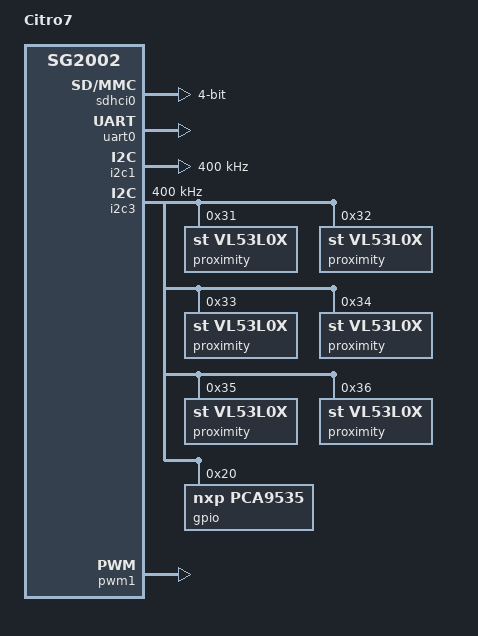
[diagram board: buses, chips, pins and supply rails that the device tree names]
// SPDX-License-Identifier: (GPL-2.0 OR MIT)
/*
 * Copyright (C) 2024 Thomas Bonnefille <thomas.bonnefille@bootlin.com>
 */

/dts-v1/;

#include "sg2002.dtsi"

/ {
	model = "Citro7";
	compatible = "sipeed,licheerv-nano-b", "sipeed,licheerv-nano", "sophgo,sg2002";

	aliases {
		gpio0 = &gpio0;
		gpio1 = &gpio1;
		gpio2 = &gpio2;
		gpio3 = &gpio3;
		serial0 = &uart0;
		serial1 = &uart1;
		serial2 = &uart2;
		serial3 = &uart3;
		serial4 = &uart4;
	};

	chosen {
		stdout-path = "serial0:115200n8";
	};
};

&osc {
	clock-frequency = <25000000>;
};

&pinctrl {
	uart0_cfg: uart0-cfg {
		uart0-pins {
			pinmux = <PINMUX(PIN_UART0_TX, 0)>,
				 <PINMUX(PIN_UART0_RX, 0)>;
			bias-pull-up;
			drive-strength-microamp = <10800>;
			power-source = <3300>;
		};
	};

	i2c1_cfg: i2c1-cfg {
		i2c1-pins {
			pinmux = <PINMUX(PIN_SD1_D3, 2)>,
				 <PINMUX(PIN_SD1_D0, 2)>;
			bias-pull-up;
			drive-strength-microamp = <10800>;
			power-source = <3300>;
		};
	};

	i2c3_cfg: i2c3-cfg {
		i2c3-pins {
			pinmux = <PINMUX(PIN_SD1_CMD, 2)>,
				 <PINMUX(PIN_SD1_CLK, 2)>;
			bias-pull-up;
			drive-strength-microamp = <10800>;
			power-source = <3300>;
		};
	};

	pwm1_cfg: pwm1-cfg {
		pwm1-pins {
			pinmux = <PINMUX(PIN_JTAG_CPU_TCK, 2)>,
				 <PINMUX(PIN_JTAG_CPU_TMS, 2)>;
			bias-pull-up;
			drive-strength-microamp = <10800>;
			power-source = <3300>;
		};
	};

	sdhci0_cfg: sdhci0-cfg {
		sdhci0-clk-pins {
			pinmux = <PINMUX(PIN_SD0_CLK, 0)>;
			bias-pull-up;
			drive-strength-microamp = <16100>;
			power-source = <3300>;
		};

		sdhci0-cmd-pins {
			pinmux = <PINMUX(PIN_SD0_CMD, 0)>;
			bias-pull-up;
			drive-strength-microamp = <10800>;
			power-source = <3300>;
		};

		sdhci0-data-pins {
			pinmux = <PINMUX(PIN_SD0_D0, 0)>,
				 <PINMUX(PIN_SD0_D1, 0)>,
				 <PINMUX(PIN_SD0_D2, 0)>,
				 <PINMUX(PIN_SD0_D3, 0)>;
			bias-pull-up;
			drive-strength-microamp = <10800>;
			power-source = <3300>;
		};

		sdhci0-cd-pins {
			pinmux = <PINMUX(PIN_SD0_CD, 0)>;
			bias-pull-up;
			drive-strength-microamp = <10800>;
			power-source = <3300>;
		};
	};
};

&sdhci0 {
	pinctrl-0 = <&sdhci0_cfg>;
	pinctrl-names = "default";
	status = "okay";
	bus-width = <4>;
	no-1-8-v;
	no-mmc;
	no-sdio;
	disable-wp;
};

&uart0 {
	pinctrl-0 = <&uart0_cfg>;
	pinctrl-names = "default";
	status = "okay";
};

&i2c1 {
	status = "okay";
	pinctrl-0 = <&i2c1_cfg>;
	pinctrl-names = "default";
	clock-frequency = <400000>;
};

&i2c3 {
	status = "okay";
	pinctrl-0 = <&i2c3_cfg>;
	pinctrl-names = "default";
	clock-frequency = <400000>;

        proximity@31 {
            compatible = "st,vl53l0x";
            reg = <0x31>;
        };

        proximity@32 {
            compatible = "st,vl53l0x";
            reg = <0x32>;
        };

        proximity@33 {
            compatible = "st,vl53l0x";
            reg = <0x33>;
        };

        proximity@34 {
            compatible = "st,vl53l0x";
            reg = <0x34>;
        };

        proximity@35 {
            compatible = "st,vl53l0x";
            reg = <0x35>;
        };

        proximity@36 {
            compatible = "st,vl53l0x";
            reg = <0x36>;
        };

	gpio@20 {
		compatible = "nxp,pca9535";
		reg = <0x20>;
		gpio-controller;
		#gpio-cells = <2>;

		gpio-line-names =
			"tof-1","tof-2",
			"tof-3","tof-4",
			"tof-5","tof-6",
			"","",
			"","",
			"","",
			"","",
			"","";
	};
};

&pwm1 {
	status = "okay";
	pinctrl-0 = <&pwm1_cfg>;
	pinctrl-names = "default";
};
